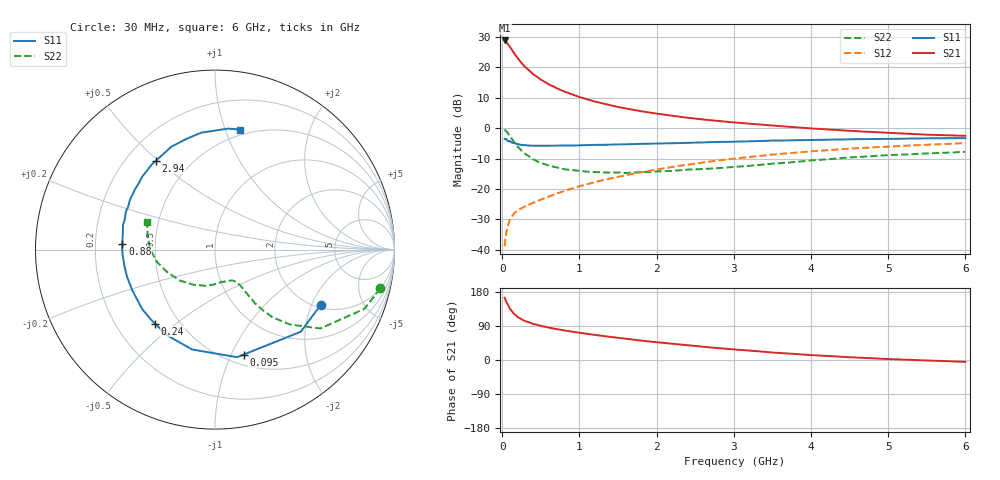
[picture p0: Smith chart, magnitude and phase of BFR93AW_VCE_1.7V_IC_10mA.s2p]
! Infineon Technologies  Discrete & RF Semiconductors
! BFR93AW
! VCE =  1.7 V,  IC =  10 mA
! Common Emitter S-Parameters:  Nov 2015
# GHz  S  MA  R  50
!  f  S11  S21  S12  S22
! GHz  MAG  ANG  MAG  ANG  MAG  ANG  MAG  ANG
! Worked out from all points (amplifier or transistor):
!   206 points, 30 MHz to 6 GHz, reference 50 ohm
!   highest |S21| = 28.8 dB at 30 MHz (marker M1)
!   |S21| within 3 dB of that: start of sweep to 122.4 MHz
!   unconditionally stable (mu >= 1): 716.8 MHz to 2.46 GHz
!   at 200 MHz: K = 0.50, MSG = 24.9 dB, |S12| = -27.0 dB
!   at 1.56 GHz: K = 1.07, MAG = 9.5 dB, |S12| = -15.7 dB
!   at 6 GHz: K = 0.95, MSG = 1.2 dB, |S12| = -4.9 dB
!   S11 on the Smith chart (normalised r, x): 30 MHz: 2.12, -2.34; 95 MHz: 0.60, -1.11; 240 MHz: 0.37, -0.42; 880 MHz: 0.32, +0.03; 2.94 GHz: 0.32, +0.49; 6 GHz: 0.45, +1.13
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0.03  0.6647 -27.6  27.42 164.2  0.0115 73.4  0.9462 -13.2
0.05  0.6616 -43.8  26.25 153.9  0.0189 69.1  0.8945 -21.7
0.095  0.6063 -74.8  21.85 137.0  0.0306 59.9  0.747 -35.0
0.1  0.6119 -78.4  21.5 134.7  0.032 59.3  0.7336 -36.8
0.15  0.5709 -102.9  17.09 121.8  0.0393 53.2  0.5913 -44.9
0.2  0.547 -119.0  13.95 113.3  0.0447 50.8  0.4937 -49.7
0.24  0.5311 -129.0  12.07 108.5  0.0474 50.2  0.4356 -51.5
0.26  0.5276 -133.4  11.28 106.2  0.0489 50.3  0.4116 -52.2
0.3  0.5239 -140.5  9.954 102.3  0.0522 50.9  0.3733 -53.3
0.4  0.5137 -153.8  7.662 95.2  0.0593 53.0  0.3066 -54.0
0.5  0.5131 -163.0  6.238 89.8  0.0668 55.6  0.2655 -54.5
0.6  0.5127 -169.5  5.242 85.5  0.0749 57.4  0.242 -54.8
0.7  0.5151 -175.5  4.539 81.6  0.0836 59.1  0.2259 -55.8
0.88  0.517 176.5  3.654 75.6  0.0997 61.0  0.2055 -58.4
1.04  0.5215 170.2  3.118 70.7  0.1145 62.3  0.1954 -61.9
1.5  0.5399 156.7  2.218 58.4  0.1581 63.1  0.1866 -74.9
2.02  0.5581 143.2  1.708 46.4  0.2108 61.1  0.1948 -91.9
2.94  0.5946 123.6  1.257 28.9  0.3077 54.3  0.2267 -120.0
3.1  0.6006 120.4  1.208 26.3  0.324 52.7  0.2343 -125.3
4.1  0.6404 102.7  0.969 11.9  0.423 42.0  0.2997 -157.5
5.1  0.666 88.7  0.823 1.8  0.5045 30.5  0.363 177.9
6  0.6831 78.2  0.745 -4.9  0.566 20.8  0.407 158.1
